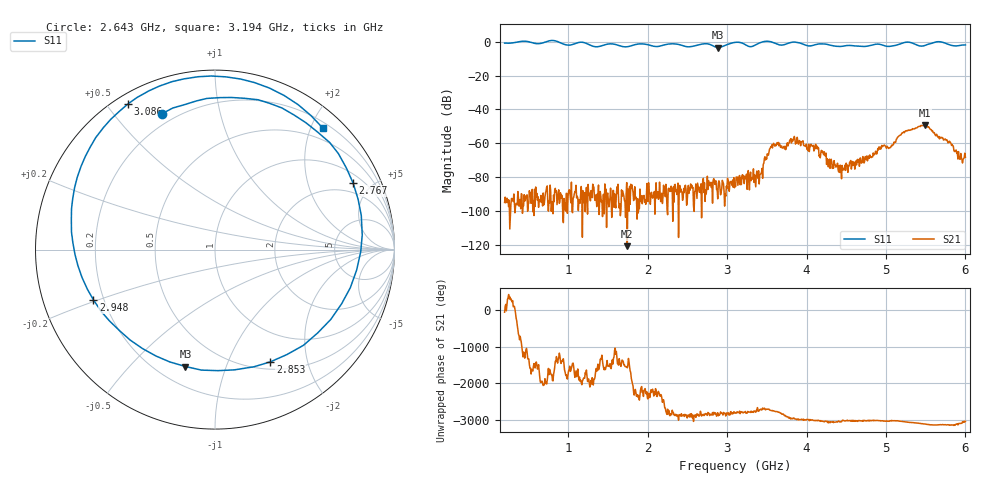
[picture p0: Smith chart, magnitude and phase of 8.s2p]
! NanoVNA-App by OneOfEleven et al v1.1.209 (+OD15)
! Date: 2024-07-30 15:11:44
! Start: 200MHz Stop: 6GHz Points: 801
! S-Parameter data: F S11 S21 S12 S22
# Hz S RI R 50
!  Frequency  S11_Real  S11_Imag  S21_Real  S21_Imag  S12_Real  S12_Imag  S22_Real  S22_Imag
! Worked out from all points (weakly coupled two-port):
!   801 points, 200 MHz to 6 GHz, reference 50 ohm
!   highest |S21| = -49.18 dB at 5.492 GHz (marker M1); lowest = -120.8 dB at 1.744 GHz (marker M2)
!   lowest |S11| = -3.5 dB at 2.89 GHz (marker M3), VSWR 5.09, Z = 15.4 - j36.6 ohm
!   |S11| at or under -10 dB: nowhere
!   S12 and S22 are empty: the file has one direction only
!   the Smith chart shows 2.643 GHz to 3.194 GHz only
!   S11 on the Smith chart (normalised r, x): 2.643 GHz: 0.15, +0.67; 2.767 GHz: 1.42, +3.89; 2.853 GHz: 0.59, -1.44; 2.948 GHz: 0.16, -0.19; 3.086 GHz: 0.04, +0.57; 3.194 GHz: 0.29, +2.19
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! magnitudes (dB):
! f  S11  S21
! 200 MHz  -0.8  -94.9
! 1.171 GHz  -0.3  -89.6
! 1.744 GHz  -3.0  -120.8
! 2.136 GHz  -2.8  -93.1
! 2.643 GHz  -1.8  -86.7
! 2.767 GHz  -1.4  -82.1
! 2.853 GHz  -3.1  -82.4
! 2.89 GHz  -3.5  -83.8
! 2.948 GHz  -2.7  -83.1
! 3.086 GHz  -0.5  -80.3
! 3.1 GHz  -0.4  -84.1
! 3.194 GHz  -0.9  -78.6
! 3.419 GHz  -0.5  -78.4
! 3.607 GHz  -1.0  -60.8
! 3.716 GHz  -1.8  -61.8
! 3.825 GHz  -0.2  -58.8
! 4.072 GHz  -2.3  -61.5
! 4.427 GHz  -2.8  -72.9
! 5.036 GHz  -2.8  -63.1
! 5.224 GHz  -0.5  -53.2
! 5.492 GHz  -2.2  -49.2
! 6 GHz  -1.9  -68.3
